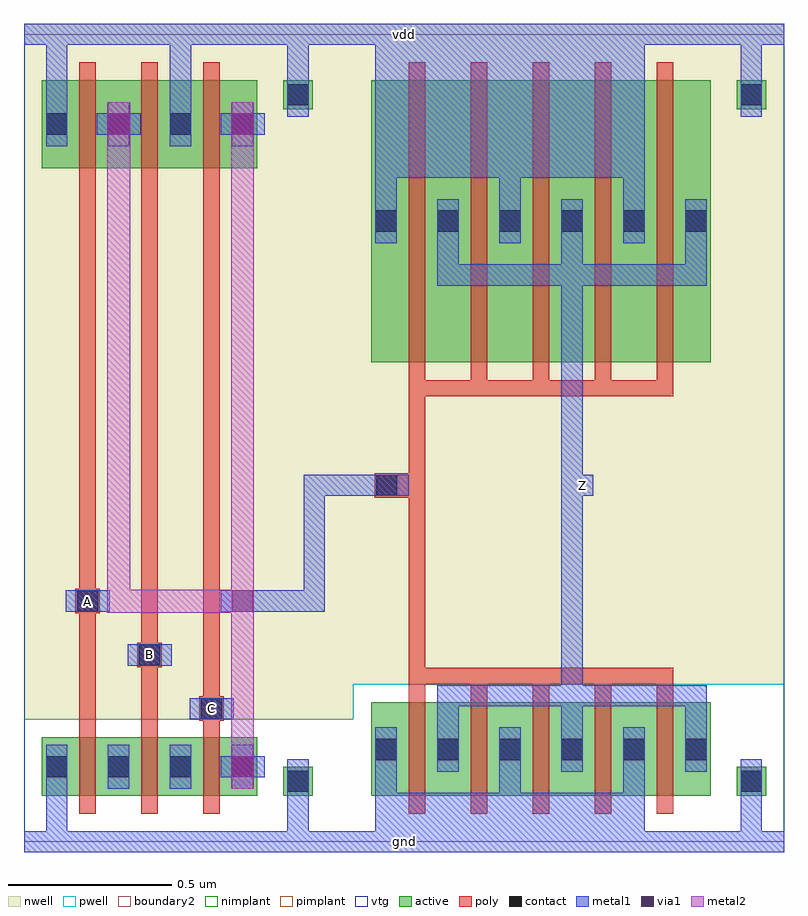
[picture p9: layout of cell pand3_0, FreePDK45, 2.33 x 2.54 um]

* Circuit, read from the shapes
.subckt pand3_0 A B C Z gnd vdd
M1 pnand3_1_0/nmos_m1_w0_180_a_p_3/D A gnd gnd nfet w=0.18u l=0.05u
M2 pnand3_1_0/nmos_m1_w0_180_a_p_4/D B pnand3_1_0/nmos_m1_w0_180_a_p_3/D gnd nfet w=0.18u l=0.05u
M3 pinv_10_1/A C pnand3_1_0/nmos_m1_w0_180_a_p_4/D gnd nfet w=0.18u l=0.05u
M4 Z pinv_10_1/A gnd gnd nfet w=0.2875u l=0.05u m=5
M5 pinv_10_1/A A vdd vdd pfet w=0.27u l=0.05u
M6 vdd B pinv_10_1/A vdd pfet w=0.27u l=0.05u
M7 pinv_10_1/A C vdd vdd pfet w=0.27u l=0.05u
M8 Z pinv_10_1/A vdd vdd pfet w=0.865u l=0.05u m=5
.ends

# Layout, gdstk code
import gdstk
lib = gdstk.Library(unit=1e-6, precision=5e-10)
def R(c, l, rs):  # rectangles x0, y0, x1, y1
    for r in rs: c.add(gdstk.rectangle(r[:2], r[2:], *l))
def A(c, l, x, y, w, h, nx, ny, dx, dy):  # array of equal rectangles
    R(c, l, [(x+i*dx, y+j*dy, x+i*dx+w, y+j*dy+h) for i in range(nx) for j in range(ny)])
active = (1, 0)
pwell = (2, 0)
nwell = (3, 0)
nimplant = (4, 0)
pimplant = (5, 0)
vtg = (6, 0)
poly = (9, 0)
contact = (10, 0)
metal1 = (11, 0)
via1 = (12, 0)
metal2 = (13, 0)
boundary2 = (239, 0)

contact_9 = lib.new_cell('contact_9')
R(contact_9, active, [(0,0.0225,0.09,0.1125)])
R(contact_9, nwell, [(-0.055,-0.0325,0.145,0.1675)])
R(contact_9, pimplant, [(0,0.0225,0.09,0.1125)])
R(contact_9, contact, [(0.0125,0.035,0.0775,0.1)])
R(contact_9, metal1, [(0.0125,0,0.0775,0.135)])

pmos_m1_w0_270_a_p = lib.new_cell('pmos_m1_w0_270_a_p')
R(pmos_m1_w0_270_a_p, active, [(0,0,0.28,0.27)])
R(pmos_m1_w0_270_a_p, nwell, [(-0.055,-0.055,0.335,0.325)])
R(pmos_m1_w0_270_a_p, pimplant, [(0,0,0.28,0.27)])
R(pmos_m1_w0_270_a_p, vtg, [(-0.055,-0.055,0.335,0.325)])
R(pmos_m1_w0_270_a_p, poly, [(0.115,-0.055,0.165,0.325), (0.115,-0.055,0.165,0.325)])
R(pmos_m1_w0_270_a_p, metal1, [(0.0125,0.0675,0.0775,0.2025), (0.2025,0.0675,0.2675,0.2025)])
pmos_m1_w0_270_a_p.add(gdstk.Reference(contact_9, (0,0.0675)))
pmos_m1_w0_270_a_p.add(gdstk.Reference(contact_9, (0.19,0.0675)))
pmos_m1_w0_270_a_p.add(gdstk.Label('G', (0.14,0.135), layer=9, texttype=0))
pmos_m1_w0_270_a_p.add(gdstk.Label('S', (0.045,0.135), layer=11, texttype=0))
pmos_m1_w0_270_a_p.add(gdstk.Label('D', (0.235,0.135), layer=11, texttype=0))

contact_14 = lib.new_cell('contact_14')
R(contact_14, active, [(0,0.0225,0.09,0.1125)])
R(contact_14, pwell, [(-0.055,-0.0325,0.145,0.1675)])
R(contact_14, nimplant, [(0,0.0225,0.09,0.1125)])
R(contact_14, contact, [(0.0125,0.035,0.0775,0.1)])
R(contact_14, metal1, [(0.0125,0,0.0775,0.135)])

nmos_m1_w0_180_a_p = lib.new_cell('nmos_m1_w0_180_a_p')
R(nmos_m1_w0_180_a_p, active, [(0,0,0.28,0.18)])
R(nmos_m1_w0_180_a_p, pwell, [(-0.055,-0.055,0.335,0.235)])
R(nmos_m1_w0_180_a_p, nimplant, [(0,0,0.28,0.18)])
R(nmos_m1_w0_180_a_p, vtg, [(-0.055,-0.055,0.335,0.235)])
R(nmos_m1_w0_180_a_p, poly, [(0.115,-0.055,0.165,0.235), (0.115,-0.055,0.165,0.235)])
R(nmos_m1_w0_180_a_p, metal1, [(0.0125,0.0225,0.0775,0.1575), (0.2025,0.0225,0.2675,0.1575)])
nmos_m1_w0_180_a_p.add(gdstk.Reference(contact_14, (0,0.0225)))
nmos_m1_w0_180_a_p.add(gdstk.Reference(contact_14, (0.19,0.0225)))
nmos_m1_w0_180_a_p.add(gdstk.Label('G', (0.14,0.09), layer=9, texttype=0))
nmos_m1_w0_180_a_p.add(gdstk.Label('S', (0.045,0.09), layer=11, texttype=0))
nmos_m1_w0_180_a_p.add(gdstk.Label('D', (0.235,0.09), layer=11, texttype=0))

contact_18 = lib.new_cell('contact_18')
R(contact_18, active, [(0,0.0225,0.09,0.1125)])
R(contact_18, nwell, [(-0.055,-0.0325,0.145,0.1675)])
R(contact_18, nimplant, [(0,0.0225,0.09,0.1125)])
R(contact_18, contact, [(0.0125,0.035,0.0775,0.1)])
R(contact_18, metal1, [(0.0125,0,0.0775,0.135)])

contact_19 = lib.new_cell('contact_19')
R(contact_19, active, [(0,0.0225,0.09,0.1125)])
R(contact_19, pwell, [(-0.055,-0.0325,0.145,0.1675)])
R(contact_19, pimplant, [(0,0.0225,0.09,0.1125)])
R(contact_19, contact, [(0.0125,0.035,0.0775,0.1)])
R(contact_19, metal1, [(0.0125,0,0.0775,0.135)])

contact_10 = lib.new_cell('contact_10')
R(contact_10, poly, [(0.03,0,0.105,0.075)])
R(contact_10, contact, [(0.035,0.005,0.1,0.07)])
R(contact_10, metal1, [(0,0.005,0.135,0.07)])

contact_16 = lib.new_cell('contact_16')
R(contact_16, metal1, [(0,0.035,0.135,0.1)])
R(contact_16, via1, [(0.035,0.035,0.1,0.1)])
R(contact_16, metal2, [(0.0325,0,0.1025,0.135)])

pnand3_1 = lib.new_cell('pnand3_1')
R(pnand3_1, pwell, [(0,-0.0325,1.01,0.375)])
R(pnand3_1, nwell, [(0,0.375,1.01,2.5075)])
R(pnand3_1, vtg, [(0,-0.0325,1.01,0.375), (0,0.375,1.01,2.5075)])
A(pnand3_1, poly, 0.17, 0.085, 0.05, 1.925, 3, 1, 0.19, 0)
R(pnand3_1, poly, [(0.55,0.37,0.575,0.445), (0.36,0.535,0.385,0.61), (0.17,0.7,0.195,0.775)])
R(pnand3_1, metal1, [(0,-0.0325,1.01,0.0325), (0.0675,-0.0325,0.1325,0.1625), (0.8075,0,0.8725,0.185), (0.5075,0.375,0.6425,0.44), (0.3175,0.54,0.4525,0.605), (0.1275,0.705,0.2625,0.77), (0.6025,0.705,0.7375,0.77), (0.0675,2.1325,0.1325,2.5075), (0.4475,2.1325,0.5125,2.5075), (0.8075,2.29,0.8725,2.475), (0,2.4425,1.01,2.5075)])
R(pnand3_1, metal2, [(0.635,0.2975,0.705,2.1325), (0.635,0.2975,0.705,0.7375), (0.255,0.7025,0.325,0.7725), (0.29,0.7025,0.67,0.7725), (0.635,0.7025,0.705,0.7725), (0.255,0.7375,0.325,2.1325)])
R(pnand3_1, boundary2, [(0,0,1.01,2.475)])
pnand3_1.add(gdstk.Reference(pmos_m1_w0_270_a_p, (0.055,2.065)))
pnand3_1.add(gdstk.Reference(pmos_m1_w0_270_a_p, (0.245,2.065)))
pnand3_1.add(gdstk.Reference(pmos_m1_w0_270_a_p, (0.435,2.065)))
pnand3_1.add(gdstk.Reference(nmos_m1_w0_180_a_p, (0.055,0.14)))
pnand3_1.add(gdstk.Reference(nmos_m1_w0_180_a_p, (0.245,0.14)))
pnand3_1.add(gdstk.Reference(nmos_m1_w0_180_a_p, (0.435,0.14)))
pnand3_1.add(gdstk.Reference(contact_18, (0.795,2.2225)))
pnand3_1.add(gdstk.Reference(contact_19, (0.795,0.1175)))
pnand3_1.add(gdstk.Reference(contact_10, (0.5075,0.37)))
pnand3_1.add(gdstk.Reference(contact_10, (0.3175,0.535)))
pnand3_1.add(gdstk.Reference(contact_10, (0.1275,0.7)))
pnand3_1.add(gdstk.Reference(contact_16, (0.2225,2.1325)))
pnand3_1.add(gdstk.Reference(contact_16, (0.6025,2.1325)))
pnand3_1.add(gdstk.Reference(contact_16, (0.6025,0.1625)))
pnand3_1.add(gdstk.Reference(contact_16, (0.6025,0.67)))
pnand3_1.add(gdstk.Label('gnd', (0.505,0), layer=11, texttype=0))
pnand3_1.add(gdstk.Label('vdd', (0.505,2.475), layer=11, texttype=0))
pnand3_1.add(gdstk.Label('C', (0.575,0.4075), layer=11, texttype=0))
pnand3_1.add(gdstk.Label('B', (0.385,0.5725), layer=11, texttype=0))
pnand3_1.add(gdstk.Label('A', (0.195,0.7375), layer=11, texttype=0))
pnand3_1.add(gdstk.Label('Z', (0.67,0.7375), layer=11, texttype=0))

pmos_m5_w0_865_a_p = lib.new_cell('pmos_m5_w0_865_a_p')
R(pmos_m5_w0_865_a_p, active, [(0,0,1.04,0.865)])
R(pmos_m5_w0_865_a_p, nwell, [(-0.055,-0.055,1.095,0.92)])
R(pmos_m5_w0_865_a_p, pimplant, [(0,0,1.04,0.865)])
R(pmos_m5_w0_865_a_p, vtg, [(-0.055,-0.055,1.095,0.92)])
A(pmos_m5_w0_865_a_p, poly, 0.115, -0.055, 0.05, 0.975, 5, 1, 0.19, 0)
R(pmos_m5_w0_865_a_p, poly, [(0.115,-0.105,0.925,-0.055)])
A(pmos_m5_w0_865_a_p, metal1, 0.2025, 0.2675, 0.065, 0.165, 3, 1, 0.38, 0)
A(pmos_m5_w0_865_a_p, metal1, 0.0125, 0.4325, 0.065, 0.165, 3, 1, 0.38, 0)
R(pmos_m5_w0_865_a_p, metal1, [(0.2025,0.235,1.0275,0.3), (0.0125,0.565,0.8375,0.63)])
pmos_m5_w0_865_a_p.add(gdstk.Reference(contact_9, (0,0.365)))
pmos_m5_w0_865_a_p.add(gdstk.Reference(contact_9, (0.38,0.365)))
pmos_m5_w0_865_a_p.add(gdstk.Reference(contact_9, (0.76,0.365)))
pmos_m5_w0_865_a_p.add(gdstk.Reference(contact_9, (0.19,0.365)))
pmos_m5_w0_865_a_p.add(gdstk.Reference(contact_9, (0.57,0.365)))
pmos_m5_w0_865_a_p.add(gdstk.Reference(contact_9, (0.95,0.365)))
pmos_m5_w0_865_a_p.add(gdstk.Label('G', (0.52,-0.08), layer=9, texttype=0))
pmos_m5_w0_865_a_p.add(gdstk.Label('S', (0.425,0.5975), layer=11, texttype=0))
pmos_m5_w0_865_a_p.add(gdstk.Label('D', (0.615,0.2675), layer=11, texttype=0))

nmos_m5_w0_288_a_p = lib.new_cell('nmos_m5_w0_288_a_p')
R(nmos_m5_w0_288_a_p, active, [(0,0,1.04,0.2875)])
R(nmos_m5_w0_288_a_p, pwell, [(-0.055,-0.055,1.095,0.3425)])
R(nmos_m5_w0_288_a_p, nimplant, [(0,0,1.04,0.2875)])
R(nmos_m5_w0_288_a_p, vtg, [(-0.055,-0.055,1.095,0.3425)])
A(nmos_m5_w0_288_a_p, poly, 0.115, -0.055, 0.05, 0.3975, 5, 1, 0.19, 0)
R(nmos_m5_w0_288_a_p, poly, [(0.115,0.3425,0.925,0.3925)])
A(nmos_m5_w0_288_a_p, metal1, 0.0125, -0.02, 0.065, 0.165, 3, 1, 0.38, 0)
A(nmos_m5_w0_288_a_p, metal1, 0.2025, 0.145, 0.065, 0.165, 3, 1, 0.38, 0)
R(nmos_m5_w0_288_a_p, metal1, [(0.0125,-0.055,0.8375,0.01), (0.2025,0.275,1.0275,0.34)])
nmos_m5_w0_288_a_p.add(gdstk.Reference(contact_14, (0,0.075)))
nmos_m5_w0_288_a_p.add(gdstk.Reference(contact_14, (0.38,0.075)))
nmos_m5_w0_288_a_p.add(gdstk.Reference(contact_14, (0.76,0.075)))
nmos_m5_w0_288_a_p.add(gdstk.Reference(contact_14, (0.19,0.075)))
nmos_m5_w0_288_a_p.add(gdstk.Reference(contact_14, (0.57,0.075)))
nmos_m5_w0_288_a_p.add(gdstk.Reference(contact_14, (0.95,0.075)))
nmos_m5_w0_288_a_p.add(gdstk.Label('G', (0.52,0.3675), layer=9, texttype=0))
nmos_m5_w0_288_a_p.add(gdstk.Label('S', (0.425,-0.0225), layer=11, texttype=0))
nmos_m5_w0_288_a_p.add(gdstk.Label('D', (0.615,0.3075), layer=11, texttype=0))

pinv_10 = lib.new_cell('pinv_10')
R(pinv_10, pwell, [(0,-0.0325,1.32,0.4825)])
R(pinv_10, nwell, [(0,0.4825,1.32,2.5075)])
R(pinv_10, vtg, [(0,-0.0325,1.32,0.4825), (0,0.4825,1.32,2.5075)])
R(pinv_10, poly, [(0.17,0.4825,0.22,1.365), (0.1025,1.055,0.17,1.13)])
R(pinv_10, metal1, [(0,-0.0325,1.32,0.0325), (0.0675,-0.0325,0.8925,0.085), (1.1875,0,1.2525,0.185), (0.6375,0.415,0.7025,1.77), (0.035,1.06,0.17,1.125), (0.67,1.06,0.735,1.125), (0.0675,2.035,0.8925,2.5075), (1.1875,2.29,1.2525,2.475), (0,2.4425,1.32,2.5075)])
R(pinv_10, boundary2, [(0,0,1.32,2.475)])
pinv_10.add(gdstk.Reference(pmos_m5_w0_865_a_p, (0.055,1.47)))
pinv_10.add(gdstk.Reference(nmos_m5_w0_288_a_p, (0.055,0.14)))
pinv_10.add(gdstk.Reference(contact_18, (1.175,2.2225)))
pinv_10.add(gdstk.Reference(contact_19, (1.175,0.1175)))
pinv_10.add(gdstk.Reference(contact_10, (0.035,1.055)))
pinv_10.add(gdstk.Label('gnd', (0.66,0), layer=11, texttype=0))
pinv_10.add(gdstk.Label('vdd', (0.66,2.475), layer=11, texttype=0))
pinv_10.add(gdstk.Label('A', (0.1025,1.0925), layer=11, texttype=0))
pinv_10.add(gdstk.Label('Z', (0.7025,1.0925), layer=11, texttype=0))

pand3_0 = lib.new_cell('pand3_0')
R(pand3_0, metal1, [(0,-0.0325,2.33,0.0325), (0.5075,0.375,0.6425,0.44), (0.3175,0.54,0.4525,0.605), (0.1275,0.705,0.2625,0.77), (0.67,0.705,0.89,0.77), (0.8575,0.705,0.9225,0.77), (0.8575,0.7375,0.9225,1.0925), (0.8575,1.06,0.9225,1.125), (0.89,1.06,1.1125,1.125), (1.68,1.06,1.745,1.125), (0,2.4425,2.33,2.5075)])
R(pand3_0, boundary2, [(0,0,2.33,2.475)])
pand3_0.add(gdstk.Reference(pnand3_1, (0,0)))
pand3_0.add(gdstk.Reference(pinv_10, (1.01,0)))
pand3_0.add(gdstk.Label('vdd', (1.165,2.475), layer=11, texttype=0))
pand3_0.add(gdstk.Label('gnd', (1.165,0), layer=11, texttype=0))
pand3_0.add(gdstk.Label('Z', (1.7125,1.0925), layer=11, texttype=0))
pand3_0.add(gdstk.Label('A', (0.195,0.7375), layer=11, texttype=0))
pand3_0.add(gdstk.Label('B', (0.385,0.5725), layer=11, texttype=0))
pand3_0.add(gdstk.Label('C', (0.575,0.4075), layer=11, texttype=0))

lib.write_gds('pand3_0.gds')
